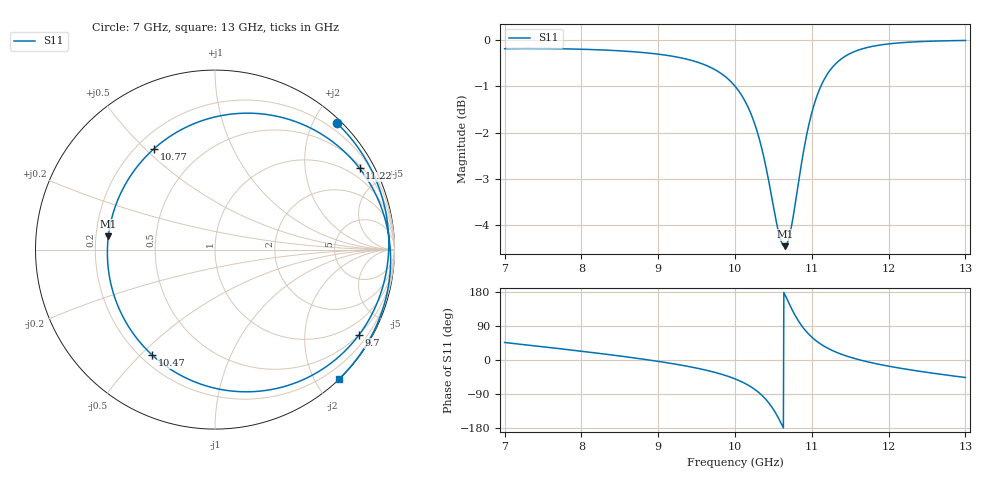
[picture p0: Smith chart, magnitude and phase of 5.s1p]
! TOUCHSTONE file generated by CST MICROWAVE STUDIO
! Date and time: Wed Sep 25 16:55:53 2024
! Project name: unit_cell_optimization_L=10.0_Wgap=1.0_Wline=1.42.cst
! Parameters = {A=1.1164; AB_sqInv=0.80193; B=0.025494; C0=2.097; Cj=0.644347; Cp=0.075; Ct=0.71614; ImZ=-22.224; L=10; L1=0.3; L_back=16.1559; Lp=0.35; Lpad=0.75; M=1.199; R=5.41; R_cav=0.5; R_sogl=4.36377; ReZ=4.33844; Rt=4.33844; V=5; Vj=2.984; W=10; W1=-0.15; W2=-0.15; Wcoop=3.29; Wgap=1; Wline=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
! Header version: 2024
! Port assignment regex: !\s*Touchstone port\s*([0-9]+)\s*=\s*(CST MWS port|CST DES external port|CST DES block port)\s*(.+)\s* \(\"(.*)\"\)(\s*mode\s*([0-9]+))?.*
! Touchstone port assignment:
! Touchstone port 1 = CST MWS port Zmax ("") mode 1
! S-Parameters are not renormalized. Unphysical impedance of 50 will be written to the file.
# GHz S RI R 50
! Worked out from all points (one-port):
!   1001 points, 7 GHz to 13 GHz, reference per port
!   lowest |S11| = -4.5 dB at 10.65 GHz (marker M1), VSWR 3.98
!   |S11| at or under -10 dB: nowhere
!   S11 on the Smith chart (normalised r, x): 7 GHz: 0.07, +2.34; 9.7 GHz: 0.49, -3.59; 10.47 GHz: 0.25, -0.54; 10.77 GHz: 0.27, +0.53; 11.22 GHz: 0.60, +3.73; 13 GHz: 0.00, -2.35
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7  0.6771 0.7064
7.75  0.8549 0.4754
8.5  0.9568 0.1785
8.902  0.9673 -0.0106
9.25  0.9379 -0.1961
9.7  0.8022 -0.4755
9.862  0.7014 -0.5868
10  0.5755 -0.6808
10.15  0.3748 -0.766
10.288  0.1073 -0.7894
10.384  -0.1294 -0.7302
10.468  -0.3506 -0.5871
10.516  -0.4644 -0.4553
10.57  -0.56 -0.2625
10.648  -0.5943 0.0732
10.696  -0.5391 0.2829
10.75  -0.4121 0.4883
10.774  -0.3388 0.5629
10.852  -0.065 0.7207
10.942  0.2451 0.7576
11.074  0.5847 0.6485
11.224  0.8057 0.4529
11.35  0.9029 0.2923
11.5  0.9589 0.1243
11.836  0.9717 -0.1668
12.25  0.9015 -0.4194
12.616  0.8075 -0.5853
13  0.6914 -0.7207
